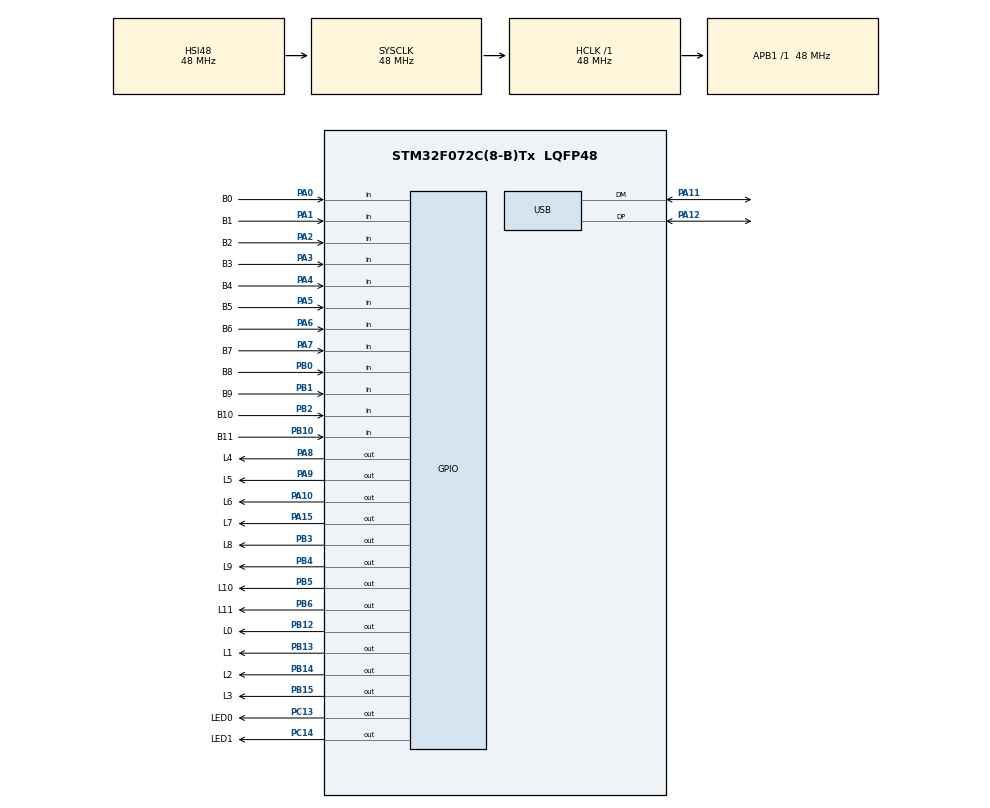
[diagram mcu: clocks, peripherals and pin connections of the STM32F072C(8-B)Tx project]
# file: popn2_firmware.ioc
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Mcu.Family=STM32F0
Mcu.Name=STM32F072C(8-B)Tx
Mcu.Package=LQFP48
NVIC.USB_IRQn=true\:0\:0\:false\:false\:true\:true\:true\:true
PA0.GPIO_Label=B0
PA0.GPIO_PuPd=GPIO_PULLUP
PA0.Signal=GPIO_Input
PA1.GPIO_Label=B1
PA1.GPIO_PuPd=GPIO_PULLUP
PA1.Signal=GPIO_Input
PA10.GPIO_Label=L6
PA10.Signal=GPIO_Output
PA11.Mode=Device
PA11.Signal=USB_DM
PA12.Mode=Device
PA12.Signal=USB_DP
PA15.GPIO_Label=L7
PA15.Signal=GPIO_Output
PA2.GPIO_Label=B2
PA2.GPIO_PuPd=GPIO_PULLUP
PA2.Signal=GPIO_Input
PA3.GPIO_Label=B3
PA3.GPIO_PuPd=GPIO_PULLUP
PA3.Signal=GPIO_Input
PA4.GPIO_Label=B4
PA4.GPIO_PuPd=GPIO_PULLUP
PA4.Signal=GPIO_Input
PA5.GPIO_Label=B5
PA5.GPIO_PuPd=GPIO_PULLUP
PA5.Signal=GPIO_Input
PA6.GPIO_Label=B6
PA6.GPIO_PuPd=GPIO_PULLUP
PA6.Signal=GPIO_Input
PA7.GPIO_Label=B7
PA7.GPIO_PuPd=GPIO_PULLUP
PA7.Signal=GPIO_Input
PA8.GPIO_Label=L4
PA8.Signal=GPIO_Output
PA9.GPIO_Label=L5
PA9.Signal=GPIO_Output
PB0.GPIO_Label=B8
PB0.GPIO_PuPd=GPIO_PULLUP
PB0.Signal=GPIO_Input
PB1.GPIO_Label=B9
PB1.GPIO_PuPd=GPIO_PULLUP
PB1.Signal=GPIO_Input
PB10.GPIO_Label=B11
PB10.GPIO_PuPd=GPIO_PULLUP
PB10.Signal=GPIO_Input
PB12.GPIO_Label=L0
PB12.Signal=GPIO_Output
PB13.GPIO_Label=L1
PB13.Signal=GPIO_Output
PB14.GPIO_Label=L2
PB14.Signal=GPIO_Output
PB15.GPIO_Label=L3
PB15.Signal=GPIO_Output
PB2.GPIO_Label=B10
PB2.GPIO_PuPd=GPIO_PULLUP
PB2.Signal=GPIO_Input
PB3.GPIO_Label=L8
PB3.Signal=GPIO_Output
PB4.GPIO_Label=L9
PB4.Signal=GPIO_Output
PB5.GPIO_Label=L10
PB5.Signal=GPIO_Output
PB6.GPIO_Label=L11
PB6.Signal=GPIO_Output
PB8.Signal=I2C1_SCL
PB9.Signal=I2C1_SDA
PC13.GPIO_Label=LED0
PC13.Signal=GPIO_Output
PC14-OSC32_IN.GPIO_Label=LED1
PC14-OSC32_IN.Signal=GPIO_Output
ProjectManager.HeapSize=0x200
ProjectManager.StackSize=0x400
ProjectManager.TargetToolchain=Makefile
RCC.AHBFreq_Value=48000000
RCC.APB1Freq_Value=48000000
RCC.APB1TimFreq_Value=48000000
RCC.HCLKFreq_Value=48000000
RCC.SYSCLKFreq_VALUE=48000000
RCC.SYSCLKSource=RCC_SYSCLKSOURCE_HSI48
TIM2.Prescaler=47
VP_TIM2_VS_ClockSourceINT.Mode=Internal
board=custom

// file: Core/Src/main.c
/* USER CODE BEGIN Header */
/**
  ******************************************************************************
  * @file           : main.c
  * @brief          : Main program body
  ******************************************************************************
  * @attention
  *
  * Copyright (c) 2026 STMicroelectronics.
  * All rights reserved.
  *
  * This software is licensed under terms that can be found in the LICENSE file
  * in the root directory of this software component.
  * If no LICENSE file comes with this software, it is provided AS-IS.
  *
  ******************************************************************************
  */
/* USER CODE END Header */
#include "main.h"

/* USER CODE BEGIN Includes */
#include "tusb.h"
#include "tasks.h"
/* USER CODE END Includes */

TIM_HandleTypeDef htim2;

PCD_HandleTypeDef hpcd_USB_FS;

void SystemClock_Config(void);
static void MX_GPIO_Init(void);
static void MX_USB_PCD_Init(void);
static void MX_TIM2_Init(void);

/* USER CODE BEGIN 0 */
void check_dfu_magic(void) {
    // Check if the magic word survived the reset
    if (*((volatile uint32_t *)DFU_MAGIC_ADDR) == DFU_MAGIC_WORD) {

        // Clear it so we don't get stuck in a bootloop
        *((volatile uint32_t *)DFU_MAGIC_ADDR) = 0;

        // Enable the SYSCFG clock (using direct registers to avoid HAL)
        RCC->APB2ENR |= RCC_APB2ENR_SYSCFGEN;

        // Remap System Memory to 0x00000000 (Required for F072)
        SYSCFG->CFGR1 = (SYSCFG->CFGR1 & ~SYSCFG_CFGR1_MEM_MODE) | 0x01;

        // Load the bootloader's stack pointer and execution address
        uint32_t jump_addr = *(__IO uint32_t *)(BOOTLOADER_ADDR + 4);
        void (*SysMemBootJump)(void) = (void (*)(void))jump_addr;

        // Set the main stack pointer
        __set_MSP(*(__IO uint32_t *)BOOTLOADER_ADDR);

        // Jump!
        SysMemBootJump();
    }
}
/* USER CODE END 0 */

int main(void)
{

  /* USER CODE BEGIN 1 */
  check_dfu_magic();
  /* USER CODE END 1 */

  /* MCU Configuration--------------------------------------------------------*/

  /* Reset of all peripherals, Initializes the Flash interface and the Systick. */
  HAL_Init();

  /* Configure the system clock */
  SystemClock_Config();

  /* Initialize all configured peripherals */
  MX_GPIO_Init();
  MX_USB_PCD_Init();
  MX_TIM2_Init();
  /* USER CODE BEGIN 2 */
  tusb_rhport_init_t dev_init = {
    .role  = TUSB_ROLE_DEVICE,
    .speed = TUSB_SPEED_FULL
  };
  tusb_init(0, &dev_init);
  tasks_init();

  /* USER CODE END 2 */

  /* Infinite loop */
  while (1)
  {

    /* USER CODE BEGIN 3 */
    tud_task();
    gpio_task();
    cdc_task();
    hid_task();
  }
  /* USER CODE END 3 */
}

void SystemClock_Config(void)
{
  RCC_OscInitTypeDef RCC_OscInitStruct = {0};
  RCC_ClkInitTypeDef RCC_ClkInitStruct = {0};
  RCC_PeriphCLKInitTypeDef PeriphClkInit = {0};

  /** Initializes the RCC Oscillators according to the specified parameters
  * in the RCC_OscInitTypeDef structure.
  */
  RCC_OscInitStruct.OscillatorType = RCC_OSCILLATORTYPE_HSI48;
  RCC_OscInitStruct.HSI48State = RCC_HSI48_ON;
  RCC_OscInitStruct.PLL.PLLState = RCC_PLL_NONE;
  if (HAL_RCC_OscConfig(&RCC_OscInitStruct) != HAL_OK)
  {
    Error_Handler();
  }

  /** Initializes the CPU, AHB and APB buses clocks
  */
  RCC_ClkInitStruct.ClockType = RCC_CLOCKTYPE_HCLK|RCC_CLOCKTYPE_SYSCLK
                              |RCC_CLOCKTYPE_PCLK1;
  RCC_ClkInitStruct.SYSCLKSource = RCC_SYSCLKSOURCE_HSI48;
  RCC_ClkInitStruct.AHBCLKDivider = RCC_SYSCLK_DIV1;
  RCC_ClkInitStruct.APB1CLKDivider = RCC_HCLK_DIV1;

  if (HAL_RCC_ClockConfig(&RCC_ClkInitStruct, FLASH_LATENCY_1) != HAL_OK)
  {
    Error_Handler();
  }
  PeriphClkInit.PeriphClockSelection = RCC_PERIPHCLK_USB;
  PeriphClkInit.UsbClockSelection = RCC_USBCLKSOURCE_HSI48;

  if (HAL_RCCEx_PeriphCLKConfig(&PeriphClkInit) != HAL_OK)
  {
    Error_Handler();
  }
}

static void MX_TIM2_Init(void)
{

  TIM_ClockConfigTypeDef sClockSourceConfig = {0};
  TIM_MasterConfigTypeDef sMasterConfig = {0};

  htim2.Instance = TIM2;
  htim2.Init.Prescaler = 47;
  htim2.Init.CounterMode = TIM_COUNTERMODE_UP;
  htim2.Init.Period = 4294967295;
  htim2.Init.ClockDivision = TIM_CLOCKDIVISION_DIV1;
  htim2.Init.AutoReloadPreload = TIM_AUTORELOAD_PRELOAD_DISABLE;
  if (HAL_TIM_Base_Init(&htim2) != HAL_OK)
  {
    Error_Handler();
  }
  sClockSourceConfig.ClockSource = TIM_CLOCKSOURCE_INTERNAL;
  if (HAL_TIM_ConfigClockSource(&htim2, &sClockSourceConfig) != HAL_OK)
  {
    Error_Handler();
  }
  sMasterConfig.MasterOutputTrigger = TIM_TRGO_RESET;
  sMasterConfig.MasterSlaveMode = TIM_MASTERSLAVEMODE_DISABLE;
  if (HAL_TIMEx_MasterConfigSynchronization(&htim2, &sMasterConfig) != HAL_OK)
  {
    Error_Handler();
  }

}

static void MX_USB_PCD_Init(void)
{

  hpcd_USB_FS.Instance = USB;
  hpcd_USB_FS.Init.dev_endpoints = 8;
  hpcd_USB_FS.Init.speed = PCD_SPEED_FULL;
  hpcd_USB_FS.Init.phy_itface = PCD_PHY_EMBEDDED;
  hpcd_USB_FS.Init.low_power_enable = DISABLE;
  hpcd_USB_FS.Init.lpm_enable = DISABLE;
  hpcd_USB_FS.Init.battery_charging_enable = DISABLE;
  if (HAL_PCD_Init(&hpcd_USB_FS) != HAL_OK)
  {
    Error_Handler();
  }

}

static void MX_GPIO_Init(void)
{
  GPIO_InitTypeDef GPIO_InitStruct = {0};

  /* GPIO Ports Clock Enable */
  __HAL_RCC_GPIOC_CLK_ENABLE();
  __HAL_RCC_GPIOA_CLK_ENABLE();
  __HAL_RCC_GPIOB_CLK_ENABLE();

  /*Configure GPIO pin Output Level */
  HAL_GPIO_WritePin(GPIOC, LED0_Pin|LED1_Pin, GPIO_PIN_RESET);

  /*Configure GPIO pin Output Level */
  HAL_GPIO_WritePin(GPIOB, L0_Pin|L1_Pin|L2_Pin|L3_Pin
                          |L8_Pin|L9_Pin|L10_Pin|L11_Pin, GPIO_PIN_RESET);

  /*Configure GPIO pin Output Level */
  HAL_GPIO_WritePin(GPIOA, L4_Pin|L5_Pin|L6_Pin|L7_Pin, GPIO_PIN_RESET);

  /*Configure GPIO pins : LED0_Pin LED1_Pin */
  GPIO_InitStruct.Pin = LED0_Pin|LED1_Pin;
  GPIO_InitStruct.Mode = GPIO_MODE_OUTPUT_PP;
  GPIO_InitStruct.Pull = GPIO_NOPULL;
  GPIO_InitStruct.Speed = GPIO_SPEED_FREQ_LOW;
  HAL_GPIO_Init(GPIOC, &GPIO_InitStruct);

  /*Configure GPIO pins : B0_Pin B1_Pin B2_Pin B3_Pin
                           B4_Pin B5_Pin B6_Pin B7_Pin */
  GPIO_InitStruct.Pin = B0_Pin|B1_Pin|B2_Pin|B3_Pin
                          |B4_Pin|B5_Pin|B6_Pin|B7_Pin;
  GPIO_InitStruct.Mode = GPIO_MODE_INPUT;
  GPIO_InitStruct.Pull = GPIO_PULLUP;
  HAL_GPIO_Init(GPIOA, &GPIO_InitStruct);

  /*Configure GPIO pins : B8_Pin B9_Pin B10_Pin B11_Pin */
  GPIO_InitStruct.Pin = B8_Pin|B9_Pin|B10_Pin|B11_Pin;
  GPIO_InitStruct.Mode = GPIO_MODE_INPUT;
  GPIO_InitStruct.Pull = GPIO_PULLUP;
  HAL_GPIO_Init(GPIOB, &GPIO_InitStruct);

  /*Configure GPIO pins : L0_Pin L1_Pin L2_Pin L3_Pin
                           L8_Pin L9_Pin L10_Pin L11_Pin */
  GPIO_InitStruct.Pin = L0_Pin|L1_Pin|L2_Pin|L3_Pin
                          |L8_Pin|L9_Pin|L10_Pin|L11_Pin;
  GPIO_InitStruct.Mode = GPIO_MODE_OUTPUT_PP;
  GPIO_InitStruct.Pull = GPIO_NOPULL;
  GPIO_InitStruct.Speed = GPIO_SPEED_FREQ_LOW;
  HAL_GPIO_Init(GPIOB, &GPIO_InitStruct);

  /*Configure GPIO pins : L4_Pin L5_Pin L6_Pin L7_Pin */
  GPIO_InitStruct.Pin = L4_Pin|L5_Pin|L6_Pin|L7_Pin;
  GPIO_InitStruct.Mode = GPIO_MODE_OUTPUT_PP;
  GPIO_InitStruct.Pull = GPIO_NOPULL;
  GPIO_InitStruct.Speed = GPIO_SPEED_FREQ_LOW;
  HAL_GPIO_Init(GPIOA, &GPIO_InitStruct);

  /*Configure GPIO pins : PB8 PB9 */
  GPIO_InitStruct.Pin = GPIO_PIN_8|GPIO_PIN_9;
  GPIO_InitStruct.Mode = GPIO_MODE_AF_OD;
  GPIO_InitStruct.Pull = GPIO_NOPULL;
  GPIO_InitStruct.Speed = GPIO_SPEED_FREQ_HIGH;
  GPIO_InitStruct.Alternate = GPIO_AF1_I2C1;
  HAL_GPIO_Init(GPIOB, &GPIO_InitStruct);

}

void Error_Handler(void)
{
  __disable_irq();
  while (1)
  {
  }
}
